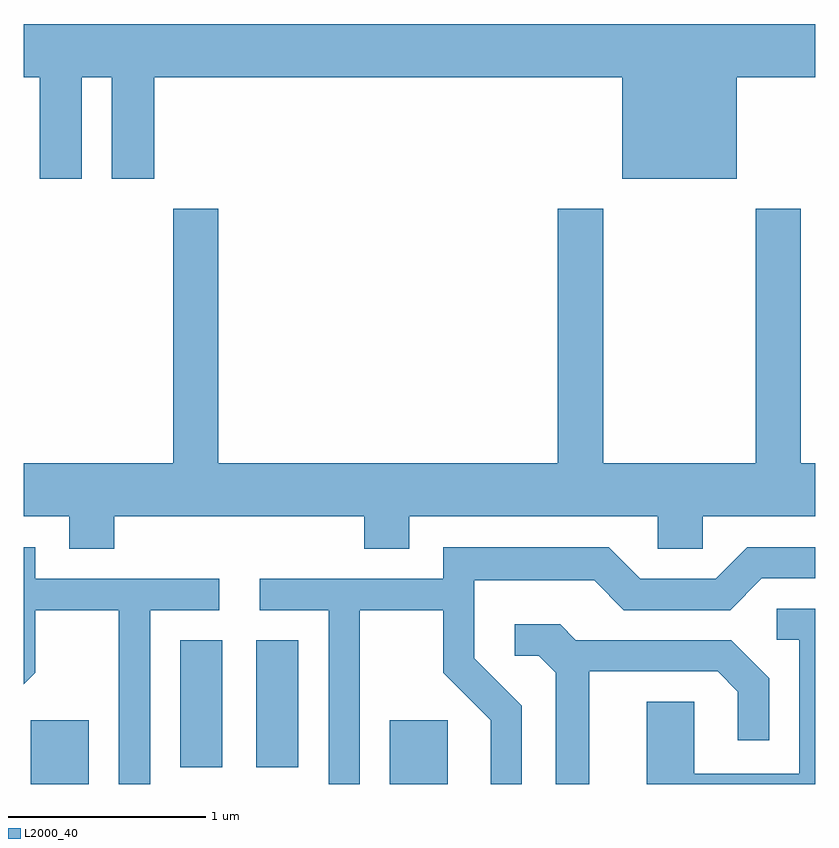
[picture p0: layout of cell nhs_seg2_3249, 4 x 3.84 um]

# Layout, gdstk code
import gdstk
lib = gdstk.Library(unit=1e-6, precision=1e-09)
def R(c, l, rs):  # rectangles x0, y0, x1, y1
    for r in rs: c.add(gdstk.rectangle(r[:2], r[2:], *l))
def P(c, l, *ps):  # polygons
    for p in ps: c.add(gdstk.Polygon(p, *l))
L2000_40 = (2000, 40)

nhs_seg2_3249 = lib.new_cell('nhs_seg2_3249')
R(nhs_seg2_3249, L2000_40, [(279.646,1095.802,279.939,1096.124), (281.461,1095.802,281.754,1096.124), (280.401,1095.886,280.614,1096.529), (280.786,1095.886,280.999,1096.529)])
P(nhs_seg2_3249, L2000_40, [(279.904,1099.376),(280.056,1099.376),(280.056,1098.861),(280.269,1098.861),(280.269,1099.376),(282.636,1099.376),(282.636,1098.861),(283.214,1098.861),(283.214,1099.376),(283.611,1099.376),(283.611,1099.644),(279.611,1099.644),(279.611,1099.376),(279.691,1099.376),(279.691,1098.861),(279.904,1098.861)],
  [(280.069,1097.156),(281.331,1097.156),(281.331,1096.991),(281.559,1096.991),(281.559,1097.156),(282.816,1097.156),(282.816,1096.991),(283.044,1096.991),(283.044,1097.156),(283.611,1097.156),(283.611,1097.424),(283.539,1097.424),(283.539,1098.709),(283.311,1098.709),(283.311,1097.424),(282.539,1097.424),(282.539,1098.709),(282.311,1098.709),(282.311,1097.424),(280.594,1097.424),(280.594,1098.709),(280.366,1098.709),(280.366,1097.424),(279.611,1097.424),(279.611,1097.156),(279.841,1097.156),(279.841,1096.991),(280.069,1096.991)],
  [(281.309,1096.681),(281.731,1096.681),(281.731,1096.364),(281.971,1096.124),(281.971,1095.802),(282.129,1095.802),(282.129,1096.197),(281.889,1096.437),(281.889,1096.831),(282.494,1096.831),(282.644,1096.681),(283.182,1096.681),(283.342,1096.841),(283.611,1096.841),(283.611,1096.999),(283.269,1096.999),(283.109,1096.839),(282.727,1096.839),(282.567,1096.999),(281.731,1096.999),(281.731,1096.839),(280.803,1096.839),(280.803,1096.681),(281.151,1096.681),(281.151,1095.802),(281.309,1095.802)],
  [(280.249,1096.681),(280.598,1096.681),(280.598,1096.839),(279.669,1096.839),(279.669,1096.999),(279.611,1096.999),(279.611,1096.306),(279.669,1096.364),(279.669,1096.681),(280.091,1096.681),(280.091,1095.802),(280.249,1095.802)],
  [(283.611,1096.689),(283.418,1096.689),(283.418,1096.531),(283.531,1096.531),(283.531,1095.854),(282.999,1095.854),(282.999,1096.219),(282.761,1096.219),(282.761,1095.802),(283.611,1095.802)],
  [(282.469,1096.371),(283.119,1096.371),(283.221,1096.269),(283.221,1096.023),(283.379,1096.023),(283.379,1096.337),(283.187,1096.529),(282.402,1096.529),(282.322,1096.609),(282.093,1096.609),(282.093,1096.451),(282.214,1096.451),(282.301,1096.364),(282.301,1095.802),(282.469,1095.802)])

lib.write_gds('nhs_seg2_3249.gds')
